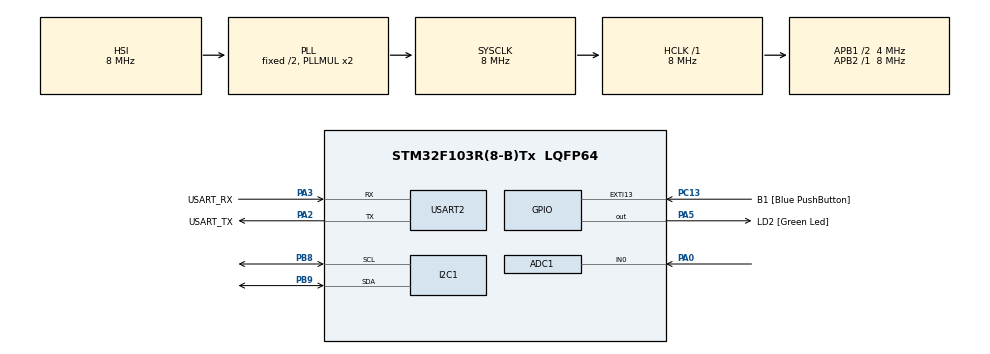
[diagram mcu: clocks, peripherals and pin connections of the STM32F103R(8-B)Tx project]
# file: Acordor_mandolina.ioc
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ADC1.Channel-0\#ChannelRegularConversion=ADC_CHANNEL_0
ADC1.ContinuousConvMode=ENABLE
ADC1.NbrOfConversionFlag=1
ADC1.Rank-0\#ChannelRegularConversion=1
ADC1.SamplingTime-0\#ChannelRegularConversion=ADC_SAMPLETIME_71CYCLES_5
ADC1.master=1
Mcu.Family=STM32F1
Mcu.Name=STM32F103R(8-B)Tx
Mcu.Package=LQFP64
NVIC.EXTI15_10_IRQn=true\:0\:0\:false\:false\:true\:true\:true\:true
NVIC.PriorityGroup=NVIC_PRIORITYGROUP_4
PA0-WKUP.Signal=ADCx_IN0
PA13.GPIO_Label=TMS
PA13.Mode=Serial_Wire
PA13.Signal=SYS_JTMS-SWDIO
PA14.GPIO_Label=TCK
PA14.Mode=Serial_Wire
PA14.Signal=SYS_JTCK-SWCLK
PA2.GPIO_Label=USART_TX
PA2.GPIO_Mode=GPIO_MODE_AF_PP
PA2.GPIO_PuPd=GPIO_NOPULL
PA2.GPIO_Speed=GPIO_SPEED_FREQ_LOW
PA2.Mode=Asynchronous
PA2.Signal=USART2_TX
PA3.GPIO_Label=USART_RX
PA3.GPIO_Mode=GPIO_MODE_AF_PP
PA3.GPIO_PuPd=GPIO_NOPULL
PA3.GPIO_Speed=GPIO_SPEED_FREQ_LOW
PA3.Mode=Asynchronous
PA3.Signal=USART2_RX
PA5.GPIO_Label=LD2 [Green Led]
PA5.GPIO_ModeDefaultOutputPP=GPIO_MODE_OUTPUT_PP
PA5.GPIO_PuPd=GPIO_NOPULL
PA5.GPIO_Speed=GPIO_SPEED_FREQ_LOW
PA5.Signal=GPIO_Output
PB3.GPIO_Label=SWO
PB3.Signal=SYS_JTDO-TRACESWO
PB8.Mode=I2C
PB8.Signal=I2C1_SCL
PB9.Mode=I2C
PB9.Signal=I2C1_SDA
PC13-TAMPER-RTC.GPIO_Label=B1 [Blue PushButton]
PC13-TAMPER-RTC.GPIO_PuPd=GPIO_NOPULL
PC13-TAMPER-RTC.Signal=GPXTI13
PC14-OSC32_IN.Mode=LSE-External-Oscillator
PC14-OSC32_IN.Signal=RCC_OSC32_IN
PC15-OSC32_OUT.Mode=LSE-External-Oscillator
PC15-OSC32_OUT.Signal=RCC_OSC32_OUT
PD0-OSC_IN.Mode=HSE-External-Clock-Source
PD0-OSC_IN.Signal=RCC_OSC_IN
PD1-OSC_OUT.Mode=HSE-External-Clock-Source
PD1-OSC_OUT.Signal=RCC_OSC_OUT
ProjectManager.HeapSize=0x200
ProjectManager.StackSize=0x400
ProjectManager.TargetToolchain=CMake
RCC.AHBFreq_Value=8000000
RCC.APB1CLKDivider=RCC_HCLK_DIV2
RCC.APB1Freq_Value=4000000
RCC.APB1TimFreq_Value=8000000
RCC.APB2Freq_Value=8000000
RCC.APB2TimFreq_Value=8000000
RCC.HCLKFreq_Value=8000000
RCC.RTCClockSelection=RCC_RTCCLKSOURCE_LSE
RCC.SYSCLKFreq_VALUE=8000000
RCC.SYSCLKSource=RCC_SYSCLKSOURCE_PLLCLK
RCC.USBFreq_Value=8000000
SH.ADCx_IN0.0=ADC1_IN0,IN0
USART2.VirtualMode=VM_ASYNC
board=NUCLEO-F103RB

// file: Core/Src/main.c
/* USER CODE BEGIN Header */
/**
  ******************************************************************************
  * @file           : main.c
  * @brief          : Acordor Mandolina - Editie Revizuita PRO (High-Res ZCD)
  ******************************************************************************
  */
/* USER CODE END Header */
#include "main.h"

/* USER CODE BEGIN Includes */
#include <stdio.h>
#include <string.h>
#include <stdbool.h>
#include "i2c-lcd.h" // Includem biblioteca pentru ecranul LCD
/* USER CODE END Includes */

/* USER CODE BEGIN PTD */
typedef enum {
    STARE_IDLE = 0,
    STARE_LISTENING,
    STARE_TUNING
} StareEcran;
/* USER CODE END PTD */

ADC_HandleTypeDef hadc1;
I2C_HandleTypeDef hi2c1;
UART_HandleTypeDef huart2;

void SystemClock_Config(void);
static void MX_GPIO_Init(void);
static void MX_USART2_UART_Init(void);
static void MX_ADC1_Init(void);
static void MX_I2C1_Init(void);

/* USER CODE BEGIN 0 */

// Functie pentru desenarea barei de acordare pe ecran
void afisare_lcd_acordor(float eroare_hz, const char* nume_coarda, int grade) {
    char rand1_temp[32];
    char rand1_final[17];
    char rand2[17] = "-------|------- "; // Exact 16 caractere. Centrul matematic este la indexul 7.

    int pozitie = 7;

    // Daca eroarea e in intervalul de toleranta acustica (max +/- 1 Hz)
    if (eroare_hz >= -1.0f && eroare_hz <= 1.0f) {
        snprintf(rand1_temp, sizeof(rand1_temp), "%-6s PERFECT!", nume_coarda);
        pozitie = 7; // Fortam cursorul fix pe bara din mijloc
    } else {
        // Prevenim afisarea "0 grade" cand instrumentul inca nu e perfect acordat
        int afisare_grade = (grade == 0) ? 1 : grade;

        // Corelam VIZUALUL barei direct cu numarul de GRADE
        // Impartim la 2 pentru a avea o tranzitie lina (ex: 1-2 grade = offset 1, 3-4 grade = offset 2)
        int offset = (afisare_grade + 1) / 2;
        if (offset > 7) offset = 7; // Limita ecranului

        if (eroare_hz < 0) { // Frecventa curenta e mai mica -> trebuie STRANS
            snprintf(rand1_temp, sizeof(rand1_temp), "%-6s Str:%d%c ", nume_coarda, afisare_grade, 223);
            pozitie = 7 - offset; // Cursorul se misca proportional la stanga
        } else { // Frecventa curenta e mai mare -> trebuie SLABIT
            snprintf(rand1_temp, sizeof(rand1_temp), "%-6s Sla:%d%c ", nume_coarda, afisare_grade, 223);
            pozitie = 7 + offset; // Cursorul se misca proportional la dreapta
        }
    }

    // Limitare stricta la lungimea barei pentru a preveni erorile de memorie LCD
    if (pozitie < 0) pozitie = 0;
    if (pozitie > 14) pozitie = 14;

    // Punem cursorul (O) pe pozitia calculata
    rand2[pozitie] = 'O';

    // Asiguram ca randul 1 are exact 16 caractere (umplem cu spatii goale) pt a sterge ce era inainte
    snprintf(rand1_final, sizeof(rand1_final), "%-16s", rand1_temp);

    lcd_put_cur(0, 0);
    lcd_send_string(rand1_final);
    lcd_put_cur(1, 0);
    lcd_send_string(rand2);
}

// Functie auxiliara pentru afisare text simplu pe 2 randuri (maxim 16 caractere per rand)
void afisare_lcd_text(const char* linie1, const char* linie2) {
    char text1[17];
    char text2[17];

    snprintf(text1, sizeof(text1), "%-16s", linie1);
    snprintf(text2, sizeof(text2), "%-16s", linie2);

    lcd_put_cur(0, 0);
    lcd_send_string(text1);
    lcd_put_cur(1, 0);
    lcd_send_string(text2);
}

// Functie de mapare a frecventei calculate cu corzile mandolinei
bool determina_nota_si_parametri(float frecventa_hz, char* nume_coarda, float* target_freq, float* grade_per_hz) {
    if (frecventa_hz >= 540.0f && frecventa_hz < 800.0f) {
        strcpy(nume_coarda, "Mi(E)");
        *target_freq = 659.25f;
        *grade_per_hz = 0.5f; // Mandolina are tensiune mare: jumatate de grad schimba 1 Hz
        return true;
    } else if (frecventa_hz >= 350.0f && frecventa_hz < 540.0f) {
        strcpy(nume_coarda, "La(A)");
        *target_freq = 440.0f;
        *grade_per_hz = 0.8f;
        return true;
    } else if (frecventa_hz >= 240.0f && frecventa_hz < 350.0f) {
        strcpy(nume_coarda, "Re(D)");
        *target_freq = 293.66f;
        *grade_per_hz = 1.2f;
        return true;
    } else if (frecventa_hz >= 140.0f && frecventa_hz < 240.0f) {
        strcpy(nume_coarda, "Sol(G)");
        *target_freq = 196.00f;
        *grade_per_hz = 1.8f;
        return true;
    }
    return false;
}
/* USER CODE END 0 */

int main(void)
{

  /* MCU Configuration--------------------------------------------------------*/
  /* Reset of all peripherals, Initializes the Flash interface and the Systick. */
  HAL_Init();

  /* Configure the system clock */
  SystemClock_Config();

  /* Initialize all configured peripherals */
  MX_GPIO_Init();
  MX_USART2_UART_Init();
  MX_ADC1_Init();
  MX_I2C1_Init();

  /* USER CODE BEGIN 2 */
  // =========================================================================
  // ACTIVARE DWT (Data Watchpoint and Trace) PENTRU PRECIZIE DE NANOSECUNDE
  // =========================================================================
  CoreDebug->DEMCR |= CoreDebug_DEMCR_TRCENA_Msk;
  DWT->CYCCNT = 0;
  DWT->CTRL |= DWT_CTRL_CYCCNTENA_Msk;

  HAL_Delay(200); // Pauza de stabilizare tensiune la pornire
  HAL_ADC_Start(&hadc1); // Pornim convertorul analog-digital in mod continuu

  lcd_init();
  lcd_clear();
  lcd_put_cur(0, 0);
  lcd_send_string("Acordor Mandolină");
  lcd_put_cur(1, 0);
  lcd_send_string("   Pornire...   ");
  HAL_Delay(1500);
  /* USER CODE END 2 */

  /* Infinite loop */
  /* USER CODE BEGIN WHILE */
  while (1)
  {
      static char current_note[10] = "";
      static float current_freq = 0.0f;
      static float current_target_freq = 0.0f;
      static float current_grade_per_hz = 0.0f;

      static uint8_t candidate_count = 0;
      static uint32_t last_valid_tick = 0;
      static uint32_t last_display_tick = 0;
      static StareEcran stare_ecran = STARE_IDLE;

      // Variabile pentru Acumulatorul de Medie si Stabilitate
      static float sum_frecvente = 0.0f;
      static uint8_t numar_masuratori = 0;

      const uint32_t prag_sunet = 110;       // Prag sensibilitate microfon
      const uint32_t hold_note_ms = 4000;    // Mentinere nota pe ecran (4 secunde)

      // ==============================================================
      // ETAPA 1: Achizitie pentru zgomot si volum (30ms)
      // ==============================================================
      uint32_t val_max = 0;
      uint32_t val_min = 4095;
      uint32_t start_test = HAL_GetTick();

      while((HAL_GetTick() - start_test) < 30) {
          if (HAL_ADC_PollForConversion(&hadc1, 1) == HAL_OK) {
              uint32_t v = HAL_ADC_GetValue(&hadc1);
              if(v > val_max) val_max = v;
              if(v < val_min) val_min = v;
          }
      }

      uint32_t amplitudine = val_max - val_min;
      uint32_t tick = HAL_GetTick();

      // ==============================================================
      // ETAPA 2: Procesare Semnal si Detecție de Frecvență (ZCD)
      // ==============================================================
      if (amplitudine > prag_sunet) {

          if (stare_ecran == STARE_IDLE) {
              HAL_Delay(80); // Ignoram atacul (bufnitul) initial al penei
              stare_ecran = STARE_LISTENING;
              continue;
          }

          uint32_t dc_offset = (val_max + val_min) / 2;
          uint32_t prag_sus = dc_offset + (amplitudine / 6);
          uint32_t prag_jos = dc_offset - (amplitudine / 6);

          uint32_t start_freq = HAL_GetTick();
          uint32_t first_cross_cycles = 0;
          uint32_t last_cross_cycles = 0;
          uint32_t cycle_count = 0;
          uint8_t stare = 0;

          // Ascultam semnalul (timeout 200ms)
          while((HAL_GetTick() - start_freq) < 200) {
              if (HAL_ADC_PollForConversion(&hadc1, 1) == HAL_OK) {
                  uint32_t v = HAL_ADC_GetValue(&hadc1);

                  if (v > prag_sus && stare == 0) {
                      stare = 1;
                      uint32_t current_cycles = DWT->CYCCNT;

                      if (cycle_count == 0) {
                          first_cross_cycles = current_cycles;
                      } else {
                          last_cross_cycles = current_cycles;
                      }
                      cycle_count++;

                      if (cycle_count >= 30) break;
                  } else if (v < prag_jos && stare == 1) {
                      stare = 0;
                  }
              }
          }

          if (cycle_count >= 3) {
              // CALCUL MATEMATIC ULTRA-PRECIS
              // Masuram diferenta exacta in cicli de procesor intre prima si ultima unda
              uint32_t delta_cycles = last_cross_cycles - first_cross_cycles;

              // Transformam ciclii in secunde reale, folosind frecventa bruta a procesorului (ex: 72 MHz)
              float duration_sec = (float)delta_cycles / (float)HAL_RCC_GetHCLKFreq();

              // Frecventa = numarul de unde depline impartit la timpul extrem de precis luat de ele
              float frecventa_hz = (float)(cycle_count - 1) / duration_sec;

              if (frecventa_hz > 100.0f && frecventa_hz < 1000.0f) {
                  float target_freq = 0.0f;
                  float grade_per_hz = 0.0f;
                  char nume_coarda[10] = "";

                  if (determina_nota_si_parametri(frecventa_hz, nume_coarda, &target_freq, &grade_per_hz)) {

                      // Daca se detecteaza o nota DIVERITĂ fata de cea de pe ecran
                      if (strcmp(current_note, nume_coarda) != 0) {
                          candidate_count++;
                          if (candidate_count >= 3) { // Debouncing pt schimbarea corzii
                              strcpy(current_note, nume_coarda);
                              current_target_freq = target_freq;
                              current_grade_per_hz = grade_per_hz;

                              // Resetam bufferul de medie deoarece e o nota noua
                              sum_frecvente = 0.0f;
                              numar_masuratori = 0;
                              candidate_count = 0;
                          }
                      } else {
                          candidate_count = 0; // Confirmam aceeasi coarda
                      }

                      // Daca suntem pe o nota confirmata, aplicam Logica de Stabilitate
                      if (current_note[0] != '\0' && strcmp(current_note, nume_coarda) == 0) {

                          // OUTLIER REJECTION: Daca frecventa noua sare brusc cu > 8 Hz (ciupitura noua)
                          if (numar_masuratori > 0) {
                              float media_temporara = sum_frecvente / numar_masuratori;
                              if (frecventa_hz > media_temporara + 8.0f || frecventa_hz < media_temporara - 8.0f) {
                                  // Secventa rupta (zgomot penei la o noua ciupire). Resetam contorul!
                                  sum_frecvente = 0.0f;
                                  numar_masuratori = 0;
                              }
                          }

                          // Adaugam citirea (care stim acum ca e stabila)
                          sum_frecvente += frecventa_hz;
                          numar_masuratori++;
                          last_valid_tick = tick;

                          // Cand am adunat 4 masuratori STABILE, afisam ecranul
                          if (numar_masuratori >= 4) {
                              current_freq = sum_frecvente / 4.0f; // Frecventa MEDIE perfecta

                              float eroare_hz = current_freq - current_target_freq;

                              // Aplicam un filtru de "Lock-In" (Daca eroarea e infima, o anulam ca sa nu palpaie cursorul)
                              if (eroare_hz > -0.15f && eroare_hz < 0.15f) {
                                  eroare_hz = 0.0f;
                              }

                              int grade_rotatie = (int)((eroare_hz > 0) ? (eroare_hz * current_grade_per_hz) : (-eroare_hz * current_grade_per_hz));

                              afisare_lcd_acordor(eroare_hz, current_note, grade_rotatie);

                              last_display_tick = tick;
                              stare_ecran = STARE_TUNING;

                              // ROLLING WINDOW: Pastram ultimele 3 valori
                              sum_frecvente = current_freq * 3.0f;
                              numar_masuratori = 3;
                          }
                      }

                      // Transmitere Debug Serial pentru Teleplot (Frecventa castata la intreg pentru afisare vizuala rapida)
                      char buf[128];
                      snprintf(buf, sizeof(buf), ">Freq:%d\n>Amp:%lu\n", (int)frecventa_hz, amplitudine);
                      HAL_UART_Transmit(&huart2, (uint8_t*)buf, strlen(buf), 10);
                  }
              }
          }
      } else {
          // ==============================================================
          // ETAPA 3: Logica de Liniste (Silence & Timeout)
          // ==============================================================
          if (current_note[0] != '\0' && (tick - last_valid_tick) < hold_note_ms) {
              // Mentinem ultima nota pe ecran
          } else if (stare_ecran != STARE_IDLE && (tick - last_valid_tick) >= hold_note_ms) {
              current_note[0] = '\0';
              current_freq = 0.0f;

              // Stergem și mediile din memorie la liniste
              sum_frecvente = 0.0f;
              numar_masuratori = 0;

              afisare_lcd_text(" Astept sunet... ", "                ");
              last_display_tick = tick;
              stare_ecran = STARE_IDLE;
          }
      }
    /* USER CODE END WHILE */
  }
}

void SystemClock_Config(void)
{
  RCC_OscInitTypeDef RCC_OscInitStruct = {0};
  RCC_ClkInitTypeDef RCC_ClkInitStruct = {0};
  RCC_PeriphCLKInitTypeDef PeriphClkInit = {0};

  RCC_OscInitStruct.OscillatorType = RCC_OSCILLATORTYPE_HSI;
  RCC_OscInitStruct.HSIState = RCC_HSI_ON;
  RCC_OscInitStruct.HSICalibrationValue = RCC_HSICALIBRATION_DEFAULT;
  RCC_OscInitStruct.PLL.PLLState = RCC_PLL_ON;
  RCC_OscInitStruct.PLL.PLLSource = RCC_PLLSOURCE_HSI_DIV2;
  RCC_OscInitStruct.PLL.PLLMUL = RCC_PLL_MUL2;
  if (HAL_RCC_OscConfig(&RCC_OscInitStruct) != HAL_OK)
  {
    Error_Handler();
  }

  RCC_ClkInitStruct.ClockType = RCC_CLOCKTYPE_HCLK|RCC_CLOCKTYPE_SYSCLK
                                |RCC_CLOCKTYPE_PCLK1|RCC_CLOCKTYPE_PCLK2;
  RCC_ClkInitStruct.SYSCLKSource = RCC_SYSCLKSOURCE_PLLCLK;
  RCC_ClkInitStruct.AHBCLKDivider = RCC_SYSCLK_DIV1;
  RCC_ClkInitStruct.APB1CLKDivider = RCC_HCLK_DIV2;
  RCC_ClkInitStruct.APB2CLKDivider = RCC_HCLK_DIV1;

  if (HAL_RCC_ClockConfig(&RCC_ClkInitStruct, FLASH_LATENCY_0) != HAL_OK)
  {
    Error_Handler();
  }
  PeriphClkInit.PeriphClockSelection = RCC_PERIPHCLK_ADC;
  PeriphClkInit.AdcClockSelection = RCC_ADCPCLK2_DIV2;
  if (HAL_RCCEx_PeriphCLKConfig(&PeriphClkInit) != HAL_OK)
  {
    Error_Handler();
  }
}

static void MX_ADC1_Init(void)
{
  ADC_ChannelConfTypeDef sConfig = {0};
  hadc1.Instance = ADC1;
  hadc1.Init.ScanConvMode = ADC_SCAN_DISABLE;
  hadc1.Init.ContinuousConvMode = ENABLE;
  hadc1.Init.DiscontinuousConvMode = DISABLE;
  hadc1.Init.ExternalTrigConv = ADC_SOFTWARE_START;
  hadc1.Init.DataAlign = ADC_DATAALIGN_RIGHT;
  hadc1.Init.NbrOfConversion = 1;
  if (HAL_ADC_Init(&hadc1) != HAL_OK)
  {
    Error_Handler();
  }
  sConfig.Channel = ADC_CHANNEL_0;
  sConfig.Rank = ADC_REGULAR_RANK_1;
  sConfig.SamplingTime = ADC_SAMPLETIME_71CYCLES_5;
  if (HAL_ADC_ConfigChannel(&hadc1, &sConfig) != HAL_OK)
  {
    Error_Handler();
  }
}

static void MX_I2C1_Init(void)
{
  hi2c1.Instance = I2C1;
  hi2c1.Init.ClockSpeed = 100000;
  hi2c1.Init.DutyCycle = I2C_DUTYCYCLE_2;
  hi2c1.Init.OwnAddress1 = 0;
  hi2c1.Init.AddressingMode = I2C_ADDRESSINGMODE_7BIT;
  hi2c1.Init.DualAddressMode = I2C_DUALADDRESS_DISABLE;
  hi2c1.Init.OwnAddress2 = 0;
  hi2c1.Init.GeneralCallMode = I2C_GENERALCALL_DISABLE;
  hi2c1.Init.NoStretchMode = I2C_NOSTRETCH_DISABLE;
  if (HAL_I2C_Init(&hi2c1) != HAL_OK)
  {
    Error_Handler();
  }
}

static void MX_USART2_UART_Init(void)
{
  huart2.Instance = USART2;
  huart2.Init.BaudRate = 115200;
  huart2.Init.WordLength = UART_WORDLENGTH_8B;
  huart2.Init.StopBits = UART_STOPBITS_1;
  huart2.Init.Parity = UART_PARITY_NONE;
  huart2.Init.Mode = UART_MODE_TX_RX;
  huart2.Init.HwFlowCtl = UART_HWCONTROL_NONE;
  huart2.Init.OverSampling = UART_OVERSAMPLING_16;
  if (HAL_UART_Init(&huart2) != HAL_OK)
  {
    Error_Handler();
  }
}

static void MX_GPIO_Init(void)
{
  GPIO_InitTypeDef GPIO_InitStruct = {0};

  /* GPIO Ports Clock Enable */
  __HAL_RCC_GPIOC_CLK_ENABLE();
  __HAL_RCC_GPIOD_CLK_ENABLE();
  __HAL_RCC_GPIOA_CLK_ENABLE();
  __HAL_RCC_GPIOB_CLK_ENABLE();

  HAL_GPIO_WritePin(LD2_GPIO_Port, LD2_Pin, GPIO_PIN_RESET);

  GPIO_InitStruct.Pin = B1_Pin;
  GPIO_InitStruct.Mode = GPIO_MODE_IT_RISING;
  GPIO_InitStruct.Pull = GPIO_NOPULL;
  HAL_GPIO_Init(B1_GPIO_Port, &GPIO_InitStruct);

  GPIO_InitStruct.Pin = LD2_Pin;
  GPIO_InitStruct.Mode = GPIO_MODE_OUTPUT_PP;
  GPIO_InitStruct.Pull = GPIO_NOPULL;
  GPIO_InitStruct.Speed = GPIO_SPEED_FREQ_LOW;
  HAL_GPIO_Init(LD2_GPIO_Port, &GPIO_InitStruct);

  HAL_NVIC_SetPriority(EXTI15_10_IRQn, 0, 0);
  HAL_NVIC_EnableIRQ(EXTI15_10_IRQn);
}

void Error_Handler(void)
{
  __disable_irq();
  while (1)
  {
  }
}
